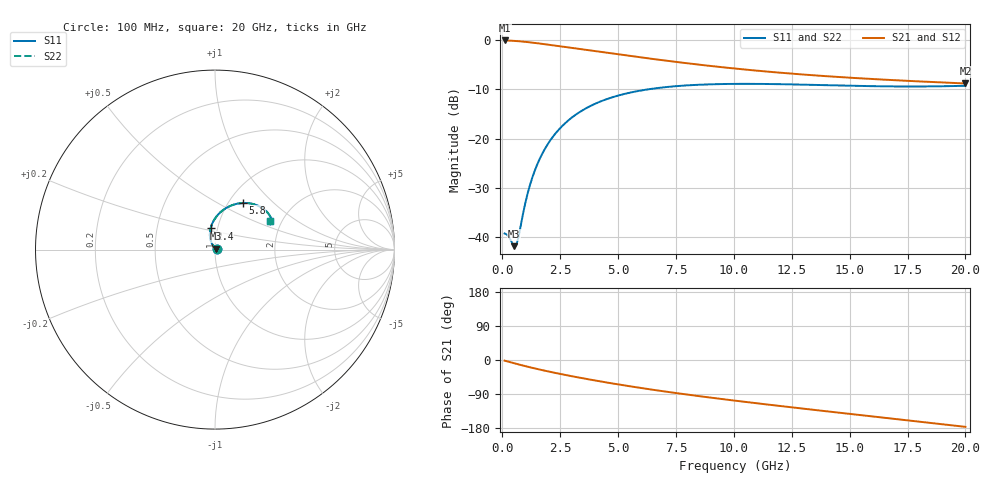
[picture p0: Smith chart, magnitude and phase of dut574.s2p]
! Touchstone file exported from HFSS 2024.1.0
!  File:  C:/UserFiles/LocalFiles/RDL_TSV_Batchsim/temp_RDL_TSV_574_1779755488.aedt
!  Generated:  08:45:30 AM May 26, 2026
!  Design:  RDL_TSV
!  Project:  temp_RDL_TSV_574_1779755488
!  Setup:  Setup1
!  Solution:  Sweep
! Variables:
!  dtsv = 12.08um
!  hbump = 3um
!  htsv = 68.37um
!  ldown = 158.43um
!  lrdl = 496.79um
!  p = 40
!  p1 = 59.8um
!  rhole = 10um
!  subl = 2462.45um
!  t = 450um
!  tdown = 3.79um
!  trdl = 4.74um
!  viad = 10um
!  wdown = 14.5um
!  wrdl = 20.11um
!  xbump = 18um
# GHz S MA R 50.000000
! Terminal data exported
! Port[1] = TM1_1_T1
! Port[2] = TM1_4_T1
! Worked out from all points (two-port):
!   200 points, 100 MHz to 20 GHz, reference 50 ohm
!   highest |S21| = -0.10 dB at 100 MHz (marker M1); lowest = -8.8 dB at 20 GHz (marker M2)
!   |S21| within 3 dB of the highest: start of sweep to 5.307 GHz
!   lowest |S11| = -41.8 dB at 500 MHz (marker M3), VSWR 1.02, Z = 50.6 + j0.58 ohm
!   |S11| at or under -10 dB: start of sweep to 6.308 GHz
!   |S22| runs from -41.8 to -8.9 dB; largest |S21 - S12| = 1.4e-14
!   S11 on the Smith chart (normalised r, x): 100 MHz: 1.02, +0.00; 2.4 GHz: 0.93, +0.22; 5.8 GHz: 1.16, +0.66; 20 GHz: 1.74, +0.62
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0.1  0.01093 6.3  0.9885 -1.7  0.9885 -1.7  0.01093 6.3
! Gamma 0 0 0 0
! Port Impedance 50 0 50 0
0.3  0.009985 18.6  0.9849 -5.1  0.9849 -5.1  0.009987 18.6
0.5  0.008131 44.8  0.9791 -8.4  0.9791 -8.4  0.008133 44.8
0.6  0.008255 67.2  0.9755 -10.0  0.9755 -10.0  0.008256 67.1
0.7  0.009999 88.2  0.9714 -11.6  0.9714 -11.6  0.009997 88.2
1  0.02256 114.5  0.9568 -16.3  0.9568 -16.3  0.02255 114.5
1.2  0.03417 117.3  0.9456 -19.3  0.9456 -19.3  0.03415 117.2
1.4  0.04721 116.5  0.9335 -22.2  0.9335 -22.2  0.04718 116.5
1.8  0.07576 111.5  0.908 -27.7  0.908 -27.7  0.07571 111.5
2.1  0.09811 106.7  0.8885 -31.7  0.8885 -31.7  0.09805 106.7
2.4  0.1205 101.7  0.869 -35.5  0.869 -35.5  0.1204 101.7
2.9  0.1564 93.7  0.8373 -41.6  0.8373 -41.6  0.1563 93.7
3.5  0.196 85.0  0.8005 -48.5  0.8005 -48.5  0.1959 84.9
4.5  0.2509 72.4  0.7429 -59.3  0.7429 -59.3  0.2507 72.4
5.8  0.3018 59.3  0.675 -72.1  0.675 -72.1  0.3017 59.3
6.8  0.3276 51.3  0.6286 -81.2  0.6286 -81.2  0.3275 51.3
8.4  0.3508 41.4  0.5653 -94.6  0.5653 -94.6  0.3506 41.4
10.1  0.3589 33.8  0.5117 -107.7  0.5117 -107.7  0.3587 33.8
11.7  0.3573 29.0  0.4722 -119.3  0.4722 -119.3  0.357 29.0
13.4  0.3507 25.9  0.4392 -131.2  0.4392 -131.2  0.3505 25.9
16.7  0.3384 24.7  0.3936 -153.8  0.3936 -153.8  0.3381 24.7
20  0.3434 27.2  0.3624 -176.4  0.3624 -176.4  0.3431 27.2
